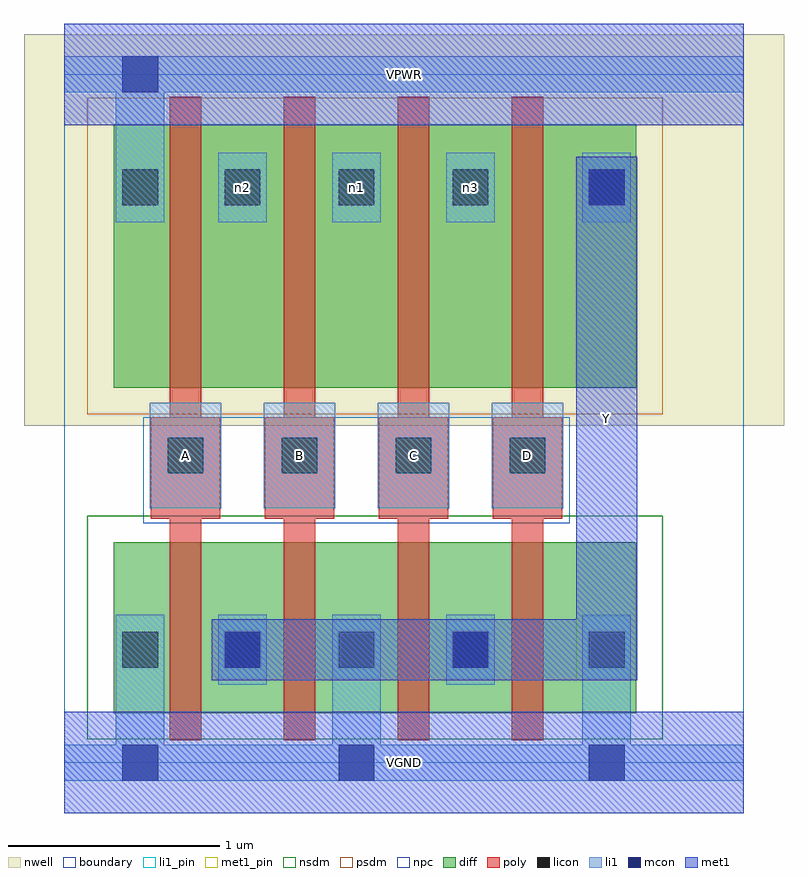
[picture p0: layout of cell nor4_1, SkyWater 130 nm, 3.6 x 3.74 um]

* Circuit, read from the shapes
.subckt nor4_1 A B C D VGND VPWR Y n1 n2 n3
XM1 Y A VGND VSUBS sky130_fd_pr__nfet_01v8 w=0.81 l=0.15
XM2 VGND B Y VSUBS sky130_fd_pr__nfet_01v8 w=0.81 l=0.15
XM3 Y C VGND VSUBS sky130_fd_pr__nfet_01v8 w=0.81 l=0.15
XM4 VGND D Y VSUBS sky130_fd_pr__nfet_01v8 w=0.81 l=0.15
XM5 n2 A VPWR n4 sky130_fd_pr__pfet_01v8 w=1.25 l=0.15
XM6 n1 B n2 n4 sky130_fd_pr__pfet_01v8 w=1.25 l=0.15
XM7 n3 C n1 n4 sky130_fd_pr__pfet_01v8 w=1.25 l=0.15
XM8 Y D n3 n4 sky130_fd_pr__pfet_01v8 w=1.25 l=0.15
.ends

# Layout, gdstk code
import gdstk
lib = gdstk.Library(unit=1e-6, precision=1e-09)
def R(c, l, rs):  # rectangles x0, y0, x1, y1
    for r in rs: c.add(gdstk.rectangle(r[:2], r[2:], *l))
def A(c, l, x, y, w, h, nx, ny, dx, dy):  # array of equal rectangles
    R(c, l, [(x+i*dx, y+j*dy, x+i*dx+w, y+j*dy+h) for i in range(nx) for j in range(ny)])
nwell = (64, 20)
diff = (65, 20)
poly = (66, 20)
licon = (66, 44)
li1_pin = (67, 16)
li1 = (67, 20)
mcon = (67, 44)
met1_pin = (68, 16)
met1 = (68, 20)
nsdm = (93, 44)
psdm = (94, 20)
npc = (95, 20)
boundary = (235, 4)

nor4_1 = lib.new_cell('nor4_1')
R(nor4_1, nwell, [(-0.19,1.595,3.41,3.45), (0,1.595,3.22,3.45)])
R(nor4_1, diff, [(0.235,0.235,2.71,1.045), (0.235,1.775,2.71,3.025)])
A(nor4_1, poly, 0.5, 0.105, 0.15, 3.05, 4, 1, 0.54, 0)
A(nor4_1, poly, 0.41, 1.155, 0.33, 0.48, 4, 1, 0.54, 0)
A(nor4_1, licon, 0.76, 0.45, 0.17, 0.17, 3, 2, 0.54, 2.19)
A(nor4_1, licon, 0.49, 1.37, 0.17, 0.17, 4, 1, 0.54, 0)
R(nor4_1, licon, [(0.275,0.45,0.445,0.62), (2.485,0.45,2.655,0.62), (0.275,2.64,0.445,2.81), (2.485,2.64,2.655,2.81)])
A(nor4_1, li1_pin, 0.405, 1.205, 0.34, 0.5, 4, 1, 0.54, 0)
A(nor4_1, li1, 0.405, 1.205, 0.34, 0.5, 4, 1, 0.54, 0)
A(nor4_1, li1, 0.73, 2.56, 0.23, 0.33, 3, 1, 0.54, 0)
R(nor4_1, li1, [(0,-0.085,3.22,0.085), (0.245,-0.085,0.475,0.7), (1.27,-0.085,1.5,0.7), (2.455,-0.085,2.685,0.7), (0.73,0.37,0.96,0.7), (1.81,0.37,2.04,0.7), (0.245,2.56,0.475,3.345), (2.455,2.56,2.685,2.89), (0,3.175,3.22,3.345)])
R(nor4_1, mcon, [(0.275,-0.085,0.445,0.085), (1.3,-0.085,1.47,0.085), (2.485,-0.085,2.655,0.085), (0.76,0.45,0.93,0.62), (1.84,0.45,2.01,0.62), (2.485,2.64,2.655,2.81), (0.275,3.175,0.445,3.345)])
R(nor4_1, met1_pin, [(0,-0.24,3.22,0.24), (2.425,0.39,2.715,2.87), (0,3.02,3.22,3.5)])
R(nor4_1, met1, [(0,-0.24,3.22,0.24), (0.7,0.39,2.715,0.68), (2.425,0.39,2.715,2.87), (0,3.02,3.22,3.5)])
R(nor4_1, nsdm, [(0.11,0.11,2.835,1.17)])
R(nor4_1, psdm, [(0.11,1.65,2.835,3.15)])
R(nor4_1, npc, [(0.375,1.135,2.395,1.635)])
R(nor4_1, boundary, [(0,0,3.22,3.26)])
nor4_1.add(gdstk.Label('A', (0.575,1.455), layer=67, texttype=5))
nor4_1.add(gdstk.Label('B', (1.115,1.455), layer=67, texttype=5))
nor4_1.add(gdstk.Label('C', (1.655,1.455), layer=67, texttype=5))
nor4_1.add(gdstk.Label('D', (2.195,1.455), layer=67, texttype=5))
nor4_1.add(gdstk.Label('n2', (0.845,2.725), layer=67, texttype=5))
nor4_1.add(gdstk.Label('n1', (1.385,2.725), layer=67, texttype=5))
nor4_1.add(gdstk.Label('n3', (1.925,2.725), layer=67, texttype=5))
nor4_1.add(gdstk.Label('Y', (2.57,1.63), layer=68, texttype=5))
nor4_1.add(gdstk.Label('VPWR', (1.61,3.26), layer=68, texttype=5))
nor4_1.add(gdstk.Label('VGND', (1.61,0), layer=68, texttype=5))
nor4_1.add(gdstk.Label('A', (0.575,1.455), layer=67, texttype=16))
nor4_1.add(gdstk.Label('B', (1.115,1.455), layer=67, texttype=16))
nor4_1.add(gdstk.Label('C', (1.655,1.455), layer=67, texttype=16))
nor4_1.add(gdstk.Label('D', (2.195,1.455), layer=67, texttype=16))
nor4_1.add(gdstk.Label('Y', (2.57,1.63), layer=68, texttype=16))
nor4_1.add(gdstk.Label('VPWR', (1.61,3.26), layer=68, texttype=16))
nor4_1.add(gdstk.Label('VGND', (1.61,0), layer=68, texttype=16))

lib.write_gds('nor4_1.gds')
